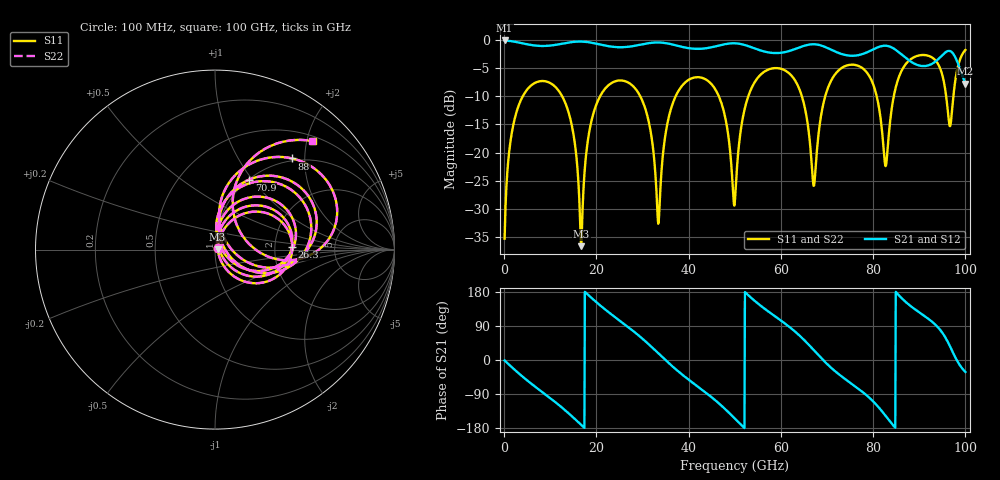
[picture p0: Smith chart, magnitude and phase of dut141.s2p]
! Touchstone file exported from HFSS 2026.1.0
!  File:  C:/ffzhzh/LocalFiles/Ansys_Project_Files/temp_train_TSV_RDL_141_1783462599_34316.aedt
!  Generated:  06:38:02 AM Jul  8, 2026
!  Design:  TSV_RDL
!  Project:  temp_train_TSV_RDL_141_1783462599_34316
! Variables:
!  h_bsmrdl = 3.22um
!  h_ox = 20um
!  h_rdl = 5um
!  h_sub = 86.57um
!  h_tmrdl = 2.76um
!  h_tsv = 86.57um
!  h_via = 3um
!  l_bsmrdl = 422.51um
!  l_sub = 3268.55um
!  l_tmrdl = 361.3um
!  m_sub = 200um
!  pitch = 52.84um
!  r_tsv = 13.67um
!  s_tmrdl = 10um
!  w_bsmrdl = 27.28um
!  w_sub = 500um
!  w_tmrdl = 24.66um
!  x_tsv_center1 = 373.63um
!  x_tsv_center2 = 823.42um
!  x_tsv_center3 = 1209.38um
!  x_tsv_center4 = 1659.17um
!  x_tsv_center5 = 2045.13um
!  x_tsv_center6 = 2494.92um
# GHz S MA R 50.000000
! Terminal data exported
! Port[1] = TM_RDL1_1_T1
! Port[2] = TM_RDL5_1_T1
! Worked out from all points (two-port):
!   1000 points, 100 MHz to 100 GHz, reference 50 ohm
!   highest |S21| = -0.12 dB at 100 MHz (marker M1); lowest = -7.8 dB at 100 GHz (marker M2)
!   |S21| within 3 dB of the highest: start of sweep to 86.91 GHz; 94.51 GHz to 97.82 GHz (3.31 GHz wide, 3.44 % of centre)
!   lowest |S11| = -36.6 dB at 16.7 GHz (marker M3), VSWR 1.03, Z = 51.5 + j0.258 ohm
!   |S11| at or under -10 dB: 12.56 GHz to 20.81 GHz (8.248 GHz wide, 49.4 % of centre); 29.49 GHz to 37.2 GHz (7.701 GHz wide, 23.1 % of centre); 46.53 GHz to 52.94 GHz (6.408 GHz wide, 12.9 % of centre) (the widest 3 of 7)
!   |S22| runs from -36.7 to -1.8 dB; largest |S21 - S12| = 2.3e-13
!   S11 on the Smith chart (normalised r, x): 100 MHz: 1.03, +0.02; 26.3 GHz: 2.50, +0.08; 70.9 GHz: 1.01, +0.97; 88 GHz: 0.96, +1.74; 100 GHz: 0.59, +2.11
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0.1  0.01723 35.6  0.9862 -1.2  0.9862 -1.2  0.01723 35.6
! Gamma 0 0 0 0
! Port Impedance 50 0 50 0
2.5  0.2156 56.7  0.9572 -28.2  0.9572 -28.2  0.2156 56.7
8.1  0.4306 4.9  0.8814 -83.2  0.8814 -83.2  0.4306 4.9
14  0.2247 -49.6  0.945 -140.9  0.945 -140.9  0.2247 -49.6
16.7  0.01478 9.8  0.9639 -171.1  0.9639 -171.1  0.01469 9.7
16.8  0.01761 39.0  0.9637 -172.2  0.9637 -172.2  0.01753 39.1
19.7  0.2472 61.2  0.9285 155.6  0.9285 155.6  0.2471 61.2
26.3  0.4283 1.7  0.8621 92.3  0.8621 92.3  0.4283 1.7
33.4  0.02336 9.5  0.9467 18.0  0.9467 18.0  0.02332 9.5
36.1  0.2386 71.4  0.9156 -12.6  0.9156 -12.6  0.2386 71.4
41.2  0.4623 25.8  0.8325 -63.0  0.8325 -63.0  0.4623 25.8
46.8  0.2972 -23.2  0.8939 -117.1  0.8939 -117.1  0.2972 -23.1
50.1  0.04087 57.3  0.9303 -155.6  0.9303 -155.6  0.04151 56.8
52.6  0.2862 77.6  0.8876 174.6  0.8876 174.6  0.2864 77.5
57.7  0.552 32.9  0.7679 124.3  0.7679 124.3  0.552 32.9
66.7  0.07696 -18.7  0.9119 31.7  0.9119 31.7  0.07682 -18.7
70.9  0.4346 63.9  0.8166 -20.6  0.8166 -20.6  0.4346 63.9
79.3  0.4662 -6.2  0.7954 -101.0  0.7954 -101.0  0.4662 -6.2
83.4  0.1454 79.4  0.8761 -158.0  0.8761 -158.0  0.1457 79.2
88  0.6654 49.8  0.6465 143.6  0.6465 143.6  0.6655 49.7
95.3  0.4307 -7.8  0.751 66.5  0.751 66.5  0.4304 -7.9
100  0.8126 48.0  0.4069 -31.6  0.4069 -31.6  0.8126 48.1
